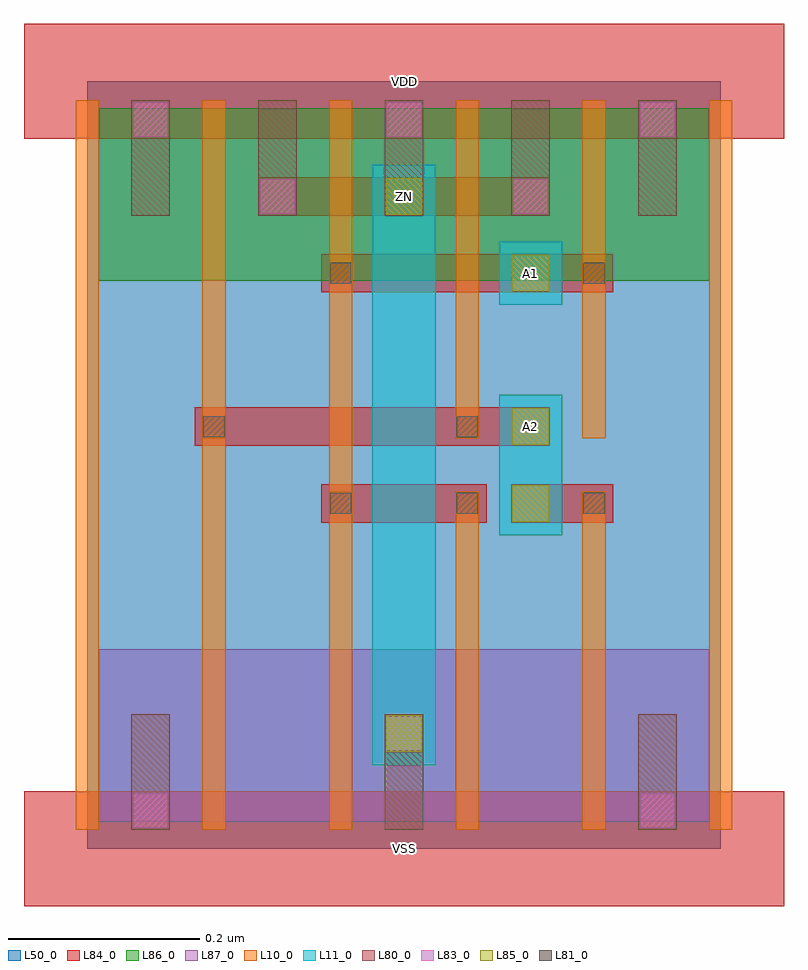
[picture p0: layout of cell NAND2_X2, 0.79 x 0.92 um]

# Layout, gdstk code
import gdstk
lib = gdstk.Library(unit=1e-6, precision=1e-09)
def R(c, l, rs):  # rectangles x0, y0, x1, y1
    for r in rs: c.add(gdstk.rectangle(r[:2], r[2:], *l))
def A(c, l, x, y, w, h, nx, ny, dx, dy):  # array of equal rectangles
    R(c, l, [(x+i*dx, y+j*dy, x+i*dx+w, y+j*dy+h) for i in range(nx) for j in range(ny)])
L10_0 = (10, 0)
L11_0 = (11, 0)
L50_0 = (50, 0)
L80_0 = (80, 0)
L81_0 = (81, 0)
L83_0 = (83, 0)
L84_0 = (84, 0)
L85_0 = (85, 0)
L86_0 = (86, 0)
L87_0 = (87, 0)

nand2_x2 = lib.new_cell('NAND2_X2')
A(nand2_x2, L10_0, -0.012, 0.02, 0.024, 0.76, 3, 1, 0.132, 0)
R(nand2_x2, L10_0, [(0.384,0.02,0.408,0.372), (0.516,0.02,0.54,0.372), (0.648,0.02,0.672,0.78), (0.384,0.428,0.408,0.78), (0.516,0.428,0.54,0.78)])
R(nand2_x2, L11_0, [(0.297,0.087,0.363,0.713), (0.429,0.327,0.495,0.473), (0.429,0.567,0.495,0.633)])
R(nand2_x2, L50_0, [(0,0,0.66,0.8)])
A(nand2_x2, L80_0, 0.046, 0.02, 0.04, 0.12, 3, 1, 0.264, 0)
A(nand2_x2, L80_0, 0.046, 0.66, 0.04, 0.12, 5, 1, 0.132, 0)
A(nand2_x2, L81_0, 0.253, 0.349, 0.022, 0.022, 3, 1, 0.132, 0)
R(nand2_x2, L81_0, [(0.121,0.429,0.143,0.451), (0.385,0.429,0.407,0.451), (0.253,0.589,0.275,0.611), (0.517,0.589,0.539,0.611)])
A(nand2_x2, L83_0, 0.048, 0.742, 0.036, 0.036, 3, 1, 0.264, 0)
R(nand2_x2, L83_0, [(0.048,0.022,0.084,0.058), (0.576,0.022,0.612,0.058), (0.312,0.102,0.348,0.138), (0.18,0.662,0.216,0.698), (0.444,0.662,0.48,0.698)])
R(nand2_x2, L84_0, [(-0.066,-0.06,0.726,0.06), (0.31,0.1,0.35,0.14), (0.244,0.34,0.416,0.38), (0.442,0.34,0.548,0.38), (0.112,0.42,0.482,0.46), (0.244,0.58,0.548,0.62), (0.178,0.66,0.482,0.7), (-0.066,0.74,0.726,0.86)])
R(nand2_x2, L85_0, [(0.311,0.101,0.349,0.139), (0.443,0.341,0.481,0.379), (0.443,0.421,0.481,0.459), (0.443,0.581,0.481,0.619), (0.311,0.661,0.349,0.699)])
R(nand2_x2, L86_0, [(0.012,0.592,0.648,0.772)])
R(nand2_x2, L87_0, [(0.012,0.028,0.648,0.208)])
nand2_x2.add(gdstk.Label('VDD', (0.33,0.8), layer=88, texttype=0))
nand2_x2.add(gdstk.Label('VSS', (0.33,0), layer=88, texttype=0))
nand2_x2.add(gdstk.Label('A2', (0.462,0.44), layer=31, texttype=0))
nand2_x2.add(gdstk.Label('ZN', (0.33,0.68), layer=31, texttype=0))
nand2_x2.add(gdstk.Label('A1', (0.462,0.6), layer=31, texttype=0))

lib.write_gds('NAND2_X2.gds')
